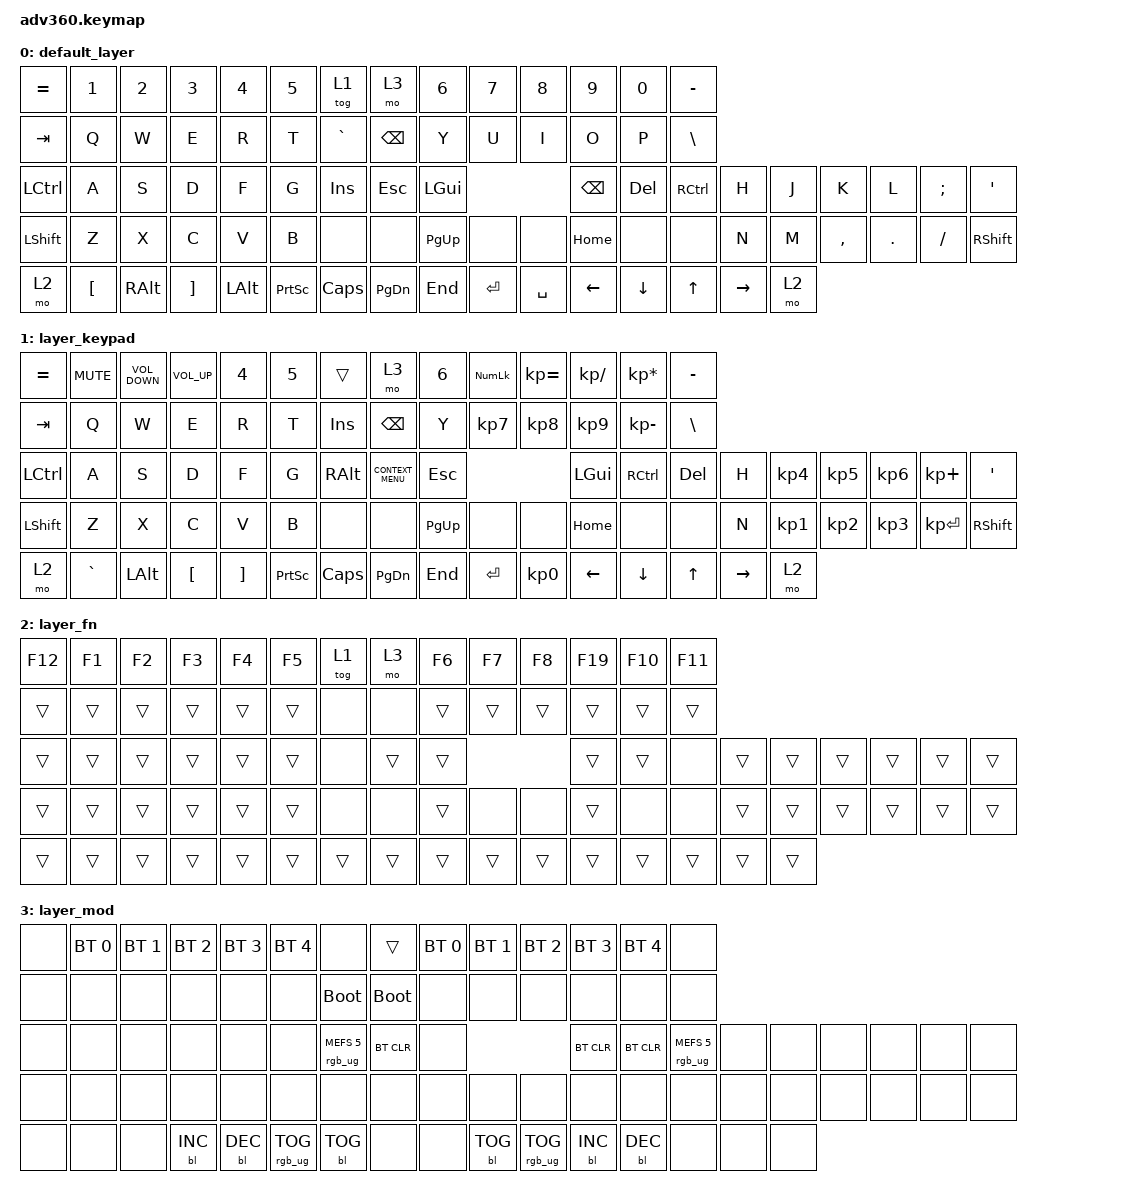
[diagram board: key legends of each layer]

/*
 * Copyright (c) 2020 The ZMK Contributors
 *
 * SPDX-License-Identifier: MIT
 */


/* THIS FILE WAS GENERATED!
 *
 * This file was generated automatically. You may or may not want to
 * edit it directly.
 */

#include <behaviors.dtsi>
#include <dt-bindings/zmk/keys.h>
#include <dt-bindings/zmk/bt.h>
#include <dt-bindings/zmk/rgb.h>
#include <dt-bindings/zmk/backlight.h>

/ {
  behaviors {
    #include "macros.dtsi"
    #include "version.dtsi"

    hm: homerow_mods {
        compatible = "zmk,behavior-hold-tap";
        label = "HOMEROW_MODS";
        #binding-cells = <2>;
        tapping-term-ms = <200>;
        quick_tap_ms = <175>;
        flavor = "tap-preferred";
        bindings = <&kp>, <&kp>;
    };
  };

    keymap {
        compatible = "zmk,keymap";


        default_layer {
            bindings = <
 &kp EQUAL            &kp N1         &kp N2             &kp N3        &kp N4           &kp N5                &tog 1          &mo 3     &kp N6     &kp N7     &kp N8    &kp N9    &kp N0     &kp MINUS
   &kp TAB             &kp Q          &kp W              &kp E         &kp R            &kp T             &kp GRAVE  &kp BACKSPACE      &kp Y      &kp U      &kp I     &kp O     &kp P      &kp BSLH
 &kp LCTRL             &kp A          &kp S              &kp D         &kp F            &kp G            &kp INSERT        &kp ESC   &kp LGUI                        &kp BSPC   &kp DEL     &kp RCTRL            &kp H   &kp J      &kp K    &kp L  &kp SEMI    &kp SQT
 &kp LSHFT             &kp Z          &kp X              &kp C         &kp V            &kp B                 &none          &none  &kp PG_UP      &none      &none  &kp HOME     &none         &none            &kp N   &kp M  &kp COMMA  &kp DOT  &kp FSLH  &kp RSHFT
     &mo 2  &kp LEFT_BRACKET  &kp RIGHT_ALT  &kp RIGHT_BRACKET  &kp LEFT_ALT  &kp PRINTSCREEN              &kp CAPS      &kp PG_DN    &kp END  &kp ENTER  &kp SPACE  &kp LEFT  &kp DOWN  &kp UP_ARROW  &kp RIGHT_ARROW   &mo 2
            >;
        };

        layer_keypad {
            bindings = <
        &kp EQUAL  &kp C_MUTE  &kp C_VOLUME_DOWN  &kp C_VOL_UP    &kp N4           &kp N5                   &trans               &mo 3       &kp N6  &kp KP_NUM  &kp KP_EQUAL   &kp KP_DIVIDE  &kp KP_MULTIPLY     &kp MINUS
          &kp TAB       &kp Q              &kp W         &kp E     &kp R            &kp T               &kp INSERT       &kp BACKSPACE        &kp Y   &kp KP_N7     &kp KP_N8       &kp KP_N9     &kp KP_MINUS      &kp BSLH
 &kp LEFT_CONTROL       &kp A              &kp S         &kp D     &kp F            &kp G            &kp RIGHT_ALT  &kp K_CONTEXT_MENU   &kp ESCAPE                                  &kp LGUI        &kp RCTRL    &kp DELETE            &kp H  &kp KP_N4  &kp KP_N5  &kp KP_N6   &kp KP_PLUS    &kp SQT
        &kp LSHFT       &kp Z              &kp X         &kp C     &kp V            &kp B                    &none               &none  &kp PAGE_UP       &none         &none        &kp HOME            &none         &none            &kp N  &kp KP_N1  &kp KP_N2  &kp KP_N3  &kp KP_ENTER  &kp RSHFT
            &mo 2   &kp GRAVE       &kp LEFT_ALT      &kp LBKT  &kp RBKT  &kp PRINTSCREEN             &kp CAPSLOCK       &kp PAGE_DOWN      &kp END   &kp ENTER     &kp KP_N0  &kp LEFT_ARROW         &kp DOWN  &kp UP_ARROW  &kp RIGHT_ARROW      &mo 2
            >;
        };

        layer_fn {
            bindings = <
 &kp F12  &kp F1  &kp F2  &kp F3  &kp F4  &kp F5            &tog 1   &mo 3  &kp F6  &kp F7  &kp F8  &kp F19  &kp F10  &kp F11
  &trans  &trans  &trans  &trans  &trans  &trans             &none   &none  &trans  &trans  &trans   &trans   &trans   &trans
  &trans  &trans  &trans  &trans  &trans  &trans             &none  &trans  &trans                   &trans   &trans    &none  &trans  &trans  &trans  &trans  &trans  &trans
  &trans  &trans  &trans  &trans  &trans  &trans             &none   &none  &trans   &none   &none   &trans    &none    &none  &trans  &trans  &trans  &trans  &trans  &trans
  &trans  &trans  &trans  &trans  &trans  &trans            &trans  &trans  &trans  &trans  &trans   &trans   &trans   &trans  &trans  &trans
            >;
        };

        layer_mod {
            bindings = <
  &none  &bt BT_SEL 0  &bt BT_SEL 1  &bt BT_SEL 2  &bt BT_SEL 3     &bt BT_SEL 4                             &none       &trans  &bt BT_SEL 0  &bt BT_SEL 1     &bt BT_SEL 2  &bt BT_SEL 3  &bt BT_SEL 4                   &none
  &none         &none         &none         &none         &none            &none                       &bootloader  &bootloader         &none         &none            &none         &none         &none                   &none
  &none         &none         &none         &none         &none            &none            &rgb_ug RGB_MEFS_CMD 5   &bt BT_CLR         &none                                   &bt BT_CLR    &bt BT_CLR  &rgb_ug RGB_MEFS_CMD 5   &none   &none   &none   &none   &none   &none
  &none         &none         &none         &none         &none            &none                             &none        &none         &none         &none            &none         &none         &none                   &none   &none   &none   &none   &none   &none   &none
  &none         &none         &none    &bl BL_INC    &bl BL_DEC  &rgb_ug RGB_TOG                        &bl BL_TOG        &none         &none    &bl BL_TOG  &rgb_ug RGB_TOG    &bl BL_INC    &bl BL_DEC                   &none   &none   &none
            >;
        };

    };
};
